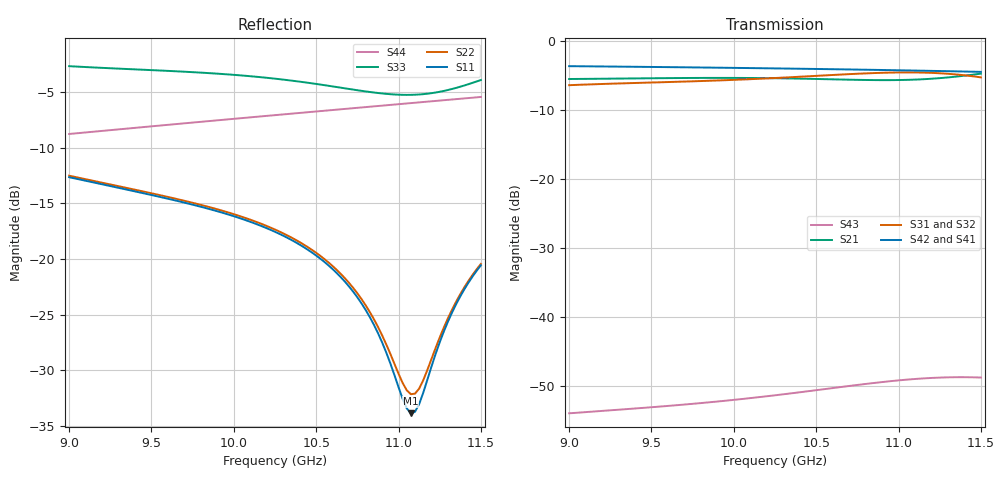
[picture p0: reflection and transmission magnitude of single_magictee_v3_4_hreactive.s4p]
! Touchstone file exported from HFSS 2025.2.4
!  File:  C:/Users/chaoy/Documents/single_magictee_v3_4_hreactive_latest/single_magictee_v3_4_hreactive.aedt
!  Generated:  02:33:53 PM Sep 22, 2026
!  Design:  SingleMagicT_v3_4_HReactiveCell
!  Project:  single_magictee_v3_4_hreactive
! Variables:
!  f_adapt = 10.2GHz
!  h_cap_height = 9mm
!  h_cap_len = 2.5mm
!  h_terminal_ridge_w = 4.572mm
!  h_throat_a = 20.4mm
!  h_throat_len = 5.5mm
!  ridge_g1 = 7.672mm
!  ridge_g2 = 5.8mm
!  ridge_l1 = 9.872mm
!  ridge_l2 = 8.857mm
!  ridge_w = 4.572mm
!  terminal_ridge_len = 7.5mm
!  wg_a = 22.86mm
!  wg_b = 10.16mm
!Data is not renormalized
# GHz S MA
! Terminal data exported
! Port[1] = P1_CollinearMinusX
! Port[2] = P2_CollinearPlusX
! Port[3] = P3_HArm_Ridged
! Port[4] = P4_EArm
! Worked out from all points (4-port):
!   101 points, 9 GHz to 11.5 GHz, reference per port
!   strongest paths, dB at 9 GHz, 9.625 GHz, 10.25 GHz, 10.88 GHz, 11.5 GHz:
!     S42: -3.6, -3.8, -4.0, -4.2, -4.5
!     S41: -3.6, -3.8, -4.0, -4.2, -4.5
!     S31: -6.4, -5.9, -5.4, -4.6, -5.3
!     S32: -6.4, -5.9, -5.4, -4.6, -5.3
!     S21: -5.5, -5.4, -5.4, -5.7, -4.7
!     S43: -54.0, -52.8, -51.4, -49.5, -48.8
!   lowest |S11| = -33.9 dB at 11.07 GHz (marker M1), VSWR 1.04
!   |S11| at or under -10 dB: start of sweep to end of sweep
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9  0.2333 150.2  0.5311 -174.7  0.4791 61.5  0.6588 46.0
   0.5311 -174.7  0.2369 150.1  0.4784 61.2  0.658 -134.3
   0.4791 61.5  0.4784 61.2  0.7359 128.0  0.002004 -72.0
   0.6588 46.0  0.658 -134.3  0.002004 -72.0  0.3648 -115.4
9.325  0.207 114.1  0.5353 149.3  0.494 16.5  0.6532 8.8
       0.5353 149.3  0.2106 114.1  0.4932 16.2  0.6526 -171.5
       0.494 16.5  0.4932 16.2  0.7161 73.1  0.002139 -120.2
       0.6532 8.8  0.6526 -171.5  0.002139 -120.2  0.3841 -150.3
9.675  0.1811 75.8  0.5398 111.6  0.5078 -31.0  0.6464 -30.1
       0.5398 111.6  0.1846 75.9  0.507 -31.3  0.6461 149.6
       0.5078 -31.0  0.507 -31.3  0.6964 14.9  0.002306 -171.2
       0.6464 -30.1  0.6461 149.6  0.002306 -171.2  0.4058 172.7
10.275  0.1299 8.6  0.5374 49.1  0.5417 -111.7  0.6331 -94.5
        0.5374 49.1  0.1331 9.2  0.5407 -112.0  0.6333 85.2
        0.5417 -111.7  0.5407 -112.0  0.6436 -85.2  0.002729 102.0
        0.6331 -94.5  0.6333 85.2  0.002729 102.0  0.445 110.6
10.725  0.07128 -41.2  0.5244 5.5  0.5779 -174.8  0.6213 -141.5
        0.5244 5.5  0.07413 -39.2  0.5766 -175.2  0.6221 38.1
        0.5779 -174.8  0.5766 -175.2  0.5775 -170.4  0.003189 34.6
        0.6213 -141.5  0.6221 38.1  0.003189 34.6  0.4764 64.8
11.075  0.02026 -20.8  0.5246 -24.8  0.5927 132.3  0.6108 -177.6
        0.5246 -24.8  0.02469 -22.1  0.5911 131.9  0.6122 2.0
        0.5927 132.3  0.5911 131.9  0.547 108.9  0.003535 -21.1
        0.6108 -177.6  0.6122 2.0  0.003535 -21.1  0.5022 29.4
11.5  0.09373 -2.3  0.5811 -60.5  0.5456 63.9  0.5965 139.0
      0.5811 -60.5  0.09506 -5.2  0.5437 63.5  0.5982 -41.5
      0.5456 63.9  0.5437 63.5  0.6377 0.8  0.00364 -91.1
      0.5965 139.0  0.5982 -41.5  0.00364 -91.1  0.5351 -13.6
